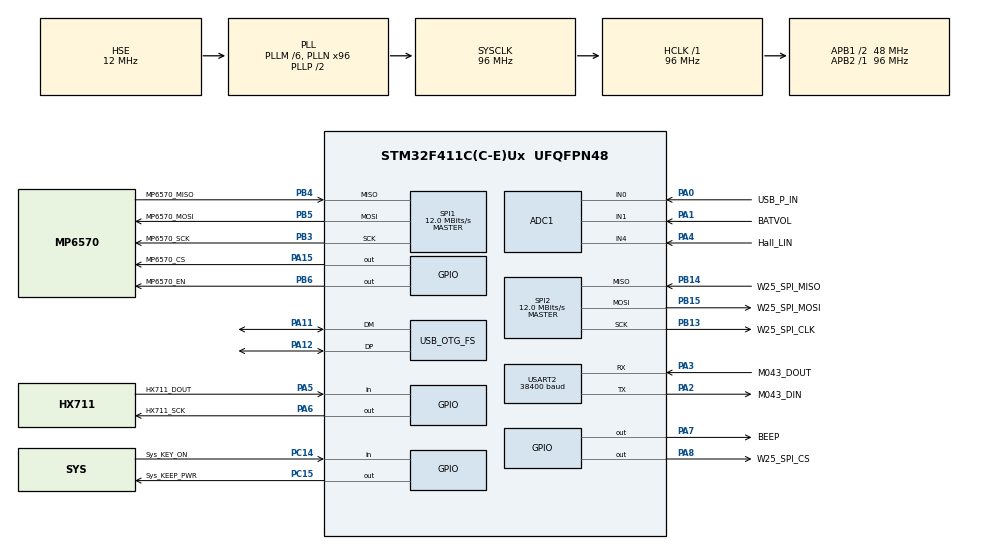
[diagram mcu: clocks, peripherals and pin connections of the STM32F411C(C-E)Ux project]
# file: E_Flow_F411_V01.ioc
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ADC1.Channel-0\#ChannelRegularConversion=ADC_CHANNEL_0
ADC1.Channel-1\#ChannelRegularConversion=ADC_CHANNEL_1
ADC1.Channel-2\#ChannelRegularConversion=ADC_CHANNEL_4
ADC1.ClockPrescaler=ADC_CLOCK_SYNC_PCLK_DIV4
ADC1.ContinuousConvMode=ENABLE
ADC1.NbrOfConversion=3
ADC1.NbrOfConversionFlag=1
ADC1.Rank-0\#ChannelRegularConversion=1
ADC1.Rank-1\#ChannelRegularConversion=2
ADC1.Rank-2\#ChannelRegularConversion=3
ADC1.SamplingTime-0\#ChannelRegularConversion=ADC_SAMPLETIME_480CYCLES
ADC1.SamplingTime-1\#ChannelRegularConversion=ADC_SAMPLETIME_480CYCLES
ADC1.SamplingTime-2\#ChannelRegularConversion=ADC_SAMPLETIME_480CYCLES
ADC1.ScanConvMode=ENABLE
ADC1.master=1
Dma.ADC1.0.Direction=DMA_PERIPH_TO_MEMORY
Dma.ADC1.0.FIFOMode=DMA_FIFOMODE_DISABLE
Dma.ADC1.0.Instance=DMA2_Stream0
Dma.ADC1.0.MemDataAlignment=DMA_MDATAALIGN_HALFWORD
Dma.ADC1.0.MemInc=DMA_MINC_ENABLE
Dma.ADC1.0.Mode=DMA_CIRCULAR
Dma.ADC1.0.PeriphDataAlignment=DMA_PDATAALIGN_HALFWORD
Dma.ADC1.0.PeriphInc=DMA_PINC_DISABLE
Dma.ADC1.0.Priority=DMA_PRIORITY_LOW
Dma.Request0=ADC1
Dma.Request1=USART2_TX
Dma.Request2=USART2_RX
Dma.USART2_RX.2.Direction=DMA_PERIPH_TO_MEMORY
Dma.USART2_RX.2.FIFOMode=DMA_FIFOMODE_DISABLE
Dma.USART2_RX.2.Instance=DMA1_Stream5
Dma.USART2_RX.2.MemDataAlignment=DMA_MDATAALIGN_BYTE
Dma.USART2_RX.2.MemInc=DMA_MINC_ENABLE
Dma.USART2_RX.2.Mode=DMA_NORMAL
Dma.USART2_RX.2.PeriphDataAlignment=DMA_PDATAALIGN_BYTE
Dma.USART2_RX.2.PeriphInc=DMA_PINC_DISABLE
Dma.USART2_RX.2.Priority=DMA_PRIORITY_MEDIUM
Dma.USART2_TX.1.Direction=DMA_MEMORY_TO_PERIPH
Dma.USART2_TX.1.FIFOMode=DMA_FIFOMODE_DISABLE
Dma.USART2_TX.1.Instance=DMA1_Stream6
Dma.USART2_TX.1.MemDataAlignment=DMA_MDATAALIGN_BYTE
Dma.USART2_TX.1.MemInc=DMA_MINC_ENABLE
Dma.USART2_TX.1.Mode=DMA_NORMAL
Dma.USART2_TX.1.PeriphDataAlignment=DMA_PDATAALIGN_BYTE
Dma.USART2_TX.1.PeriphInc=DMA_PINC_DISABLE
Dma.USART2_TX.1.Priority=DMA_PRIORITY_LOW
FREERTOS.MEMORY_ALLOCATION=0
FREERTOS.Tasks01=defaultTask,0,128,StartDefaultTask,Default,NULL,Dynamic,NULL,NULL
Mcu.Family=STM32F4
Mcu.Name=STM32F411C(C-E)Ux
Mcu.Package=UFQFPN48
NVIC.DMA1_Stream5_IRQn=true\:5\:0\:false\:false\:true\:true\:false\:true\:true
NVIC.DMA1_Stream6_IRQn=true\:5\:0\:false\:false\:true\:true\:false\:true\:true
NVIC.DMA2_Stream0_IRQn=true\:5\:0\:false\:false\:true\:true\:false\:true\:true
NVIC.OTG_FS_IRQn=true\:5\:0\:false\:false\:true\:true\:true\:true\:true
NVIC.PriorityGroup=NVIC_PRIORITYGROUP_4
NVIC.TIM1_UP_TIM10_IRQn=true\:0\:0\:true\:false\:true\:false\:false\:true\:true
NVIC.TIM2_IRQn=true\:5\:0\:false\:false\:true\:true\:true\:true\:true
NVIC.TimeBase=TIM1_UP_TIM10_IRQn
NVIC.TimeBaseIP=TIM1
NVIC.USART2_IRQn=true\:5\:0\:false\:false\:true\:true\:true\:true\:true
PA0-WKUP.GPIO_Label=USB_P_IN
PA0-WKUP.Signal=ADCx_IN0
PA1.GPIO_Label=BATVOL
PA1.Signal=ADCx_IN1
PA11.Mode=Device_Only
PA11.Signal=USB_OTG_FS_DM
PA12.Mode=Device_Only
PA12.Signal=USB_OTG_FS_DP
PA13.Mode=Serial_Wire
PA13.Signal=SYS_JTMS-SWDIO
PA14.Mode=Serial_Wire
PA14.Signal=SYS_JTCK-SWCLK
PA15.GPIO_Label=MP6570_CS
PA15.Signal=GPIO_Output
PA2.GPIO_Label=M043_DIN
PA2.Mode=Asynchronous
PA2.Signal=USART2_TX
PA3.GPIO_Label=M043_DOUT
PA3.Mode=Asynchronous
PA3.Signal=USART2_RX
PA4.GPIO_Label=Hall_LIN
PA4.Signal=ADCx_IN4
PA5.GPIO_Label=HX711_DOUT
PA5.Signal=GPIO_Input
PA6.GPIO_Label=HX711_SCK
PA6.Signal=GPIO_Output
PA7.GPIO_Label=BEEP
PA7.Signal=GPIO_Output
PA8.GPIO_Label=W25_SPI_CS
PA8.Signal=GPIO_Output
PB13.GPIO_Label=W25_SPI_CLK
PB13.Mode=Full_Duplex_Master
PB13.Signal=SPI2_SCK
PB14.GPIO_Label=W25_SPI_MISO
PB14.Mode=Full_Duplex_Master
PB14.Signal=SPI2_MISO
PB15.GPIO_Label=W25_SPI_MOSI
PB15.Mode=Full_Duplex_Master
PB15.Signal=SPI2_MOSI
PB3.GPIO_Label=MP6570_SCK
PB3.Mode=Full_Duplex_Master
PB3.Signal=SPI1_SCK
PB4.GPIO_Label=MP6570_MISO
PB4.Mode=Full_Duplex_Master
PB4.Signal=SPI1_MISO
PB5.GPIO_Label=MP6570_MOSI
PB5.Mode=Full_Duplex_Master
PB5.Signal=SPI1_MOSI
PB6.GPIO_Label=MP6570_EN
PB6.PinState=GPIO_PIN_SET
PB6.Signal=GPIO_Output
PC14-OSC32_IN.GPIO_Label=Sys_KEY_ON
PC14-OSC32_IN.Signal=GPIO_Input
PC15-OSC32_OUT.GPIO_Label=Sys_KEEP_PWR
PC15-OSC32_OUT.PinState=GPIO_PIN_SET
PC15-OSC32_OUT.Signal=GPIO_Output
PH0\ -\ OSC_IN.Mode=HSE-External-Oscillator
PH0\ -\ OSC_IN.Signal=RCC_OSC_IN
PH1\ -\ OSC_OUT.Mode=HSE-External-Oscillator
PH1\ -\ OSC_OUT.Signal=RCC_OSC_OUT
ProjectManager.HeapSize=0x4000
ProjectManager.StackSize=0x4000
ProjectManager.TargetToolchain=MDK-ARM V5.27
RCC.48MHZClocksFreq_Value=48000000
RCC.AHBFreq_Value=96000000
RCC.APB1CLKDivider=RCC_HCLK_DIV2
RCC.APB1Freq_Value=48000000
RCC.APB1TimFreq_Value=96000000
RCC.APB2Freq_Value=96000000
RCC.APB2TimFreq_Value=96000000
RCC.CortexFreq_Value=96000000
RCC.HCLKFreq_Value=96000000
RCC.HSE_VALUE=12000000
RCC.HSI_VALUE=16000000
RCC.LSE_VALUE=32768
RCC.PLLM=6
RCC.PLLN=96
RCC.SYSCLKFreq_VALUE=96000000
RCC.SYSCLKSource=RCC_SYSCLKSOURCE_PLLCLK
RCC.VCOOutputFreq_Value=192000000
SH.ADCx_IN0.0=ADC1_IN0,IN0
SH.ADCx_IN1.0=ADC1_IN1,IN1
SH.ADCx_IN4.0=ADC1_IN4,IN4
SPI1.BaudRatePrescaler=SPI_BAUDRATEPRESCALER_8
SPI1.CLKPhase=SPI_PHASE_2EDGE
SPI1.CLKPolarity=SPI_POLARITY_HIGH
SPI1.CalculateBaudRate=12.0 MBits/s
SPI1.Direction=SPI_DIRECTION_2LINES
SPI1.Mode=SPI_MODE_MASTER
SPI1.VirtualType=VM_MASTER
SPI2.BaudRatePrescaler=SPI_BAUDRATEPRESCALER_4
SPI2.CLKPhase=SPI_PHASE_2EDGE
SPI2.CLKPolarity=SPI_POLARITY_HIGH
SPI2.CalculateBaudRate=12.0 MBits/s
SPI2.Direction=SPI_DIRECTION_2LINES
SPI2.Mode=SPI_MODE_MASTER
SPI2.VirtualType=VM_MASTER
TIM2.Period=100
TIM2.Prescaler=95
USART2.BaudRate=38400
USART2.VirtualMode=VM_ASYNC
USB_DEVICE.CLASS_NAME_FS=CDC
USB_DEVICE.VirtualMode=Cdc
USB_DEVICE.VirtualModeFS=Cdc_FS
USB_OTG_FS.VirtualMode=Device_Only
VP_FREERTOS_VS_CMSIS_V1.Mode=CMSIS_V1
VP_SYS_VS_tim1.Mode=TIM1
VP_TIM2_VS_ClockSourceINT.Mode=Internal
VP_USB_DEVICE_VS_USB_DEVICE_CDC_FS.Mode=CDC_FS
board=custom

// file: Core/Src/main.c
/* USER CODE BEGIN Header */
/**
  ******************************************************************************
  * @file           : main.c
  * @brief          : Main program body
  ******************************************************************************
  * @attention
  *
  * Copyright (c) 2022 STMicroelectronics.
  * All rights reserved.
  *
  * This software is licensed under terms that can be found in the LICENSE file
  * in the root directory of this software component.
  * If no LICENSE file comes with this software, it is provided AS-IS.
  *
  ******************************************************************************
  */
/* USER CODE END Header */
#include "main.h"
#include "cmsis_os.h"
#include "adc.h"
#include "dma.h"
#include "spi.h"
#include "tim.h"
#include "usart.h"
#include "usb_device.h"
#include "gpio.h"

/* USER CODE BEGIN Includes */
#include "app_main.h"
/* USER CODE END Includes */

void SystemClock_Config(void);
void MX_FREERTOS_Init(void);

int main(void)
{
  /* USER CODE BEGIN 1 */
	Before_HAL_Init();	//	����ʱ���Σ�����ʱ��
  /* USER CODE END 1 */

  /* MCU Configuration--------------------------------------------------------*/

  /* Reset of all peripherals, Initializes the Flash interface and the Systick. */
  HAL_Init();

  /* Configure the system clock */
  SystemClock_Config();

  /* Initialize all configured peripherals */
  MX_GPIO_Init();
  MX_DMA_Init();
  MX_ADC1_Init();
  MX_SPI1_Init();
  MX_SPI2_Init();
  MX_TIM2_Init();
  MX_USART2_UART_Init();
  /* USER CODE BEGIN 2 */
	app_init();
  /* USER CODE END 2 */

  /* Call init function for freertos objects (in freertos.c) */
  MX_FREERTOS_Init();

  /* Start scheduler */
  osKernelStart();

  /* We should never get here as control is now taken by the scheduler */
  /* Infinite loop */
  while (1)
  {

  }
}

void SystemClock_Config(void)
{
  RCC_OscInitTypeDef RCC_OscInitStruct = {0};
  RCC_ClkInitTypeDef RCC_ClkInitStruct = {0};

  /** Configure the main internal regulator output voltage
  */
  __HAL_RCC_PWR_CLK_ENABLE();
  __HAL_PWR_VOLTAGESCALING_CONFIG(PWR_REGULATOR_VOLTAGE_SCALE1);

  /** Initializes the RCC Oscillators according to the specified parameters
  * in the RCC_OscInitTypeDef structure.
  */
  RCC_OscInitStruct.OscillatorType = RCC_OSCILLATORTYPE_HSE;
  RCC_OscInitStruct.HSEState = RCC_HSE_ON;
  RCC_OscInitStruct.PLL.PLLState = RCC_PLL_ON;
  RCC_OscInitStruct.PLL.PLLSource = RCC_PLLSOURCE_HSE;
  RCC_OscInitStruct.PLL.PLLM = 6;
  RCC_OscInitStruct.PLL.PLLN = 96;
  RCC_OscInitStruct.PLL.PLLP = RCC_PLLP_DIV2;
  RCC_OscInitStruct.PLL.PLLQ = 4;
  if (HAL_RCC_OscConfig(&RCC_OscInitStruct) != HAL_OK)
  {
    Error_Handler();
  }

  /** Initializes the CPU, AHB and APB buses clocks
  */
  RCC_ClkInitStruct.ClockType = RCC_CLOCKTYPE_HCLK|RCC_CLOCKTYPE_SYSCLK
                              |RCC_CLOCKTYPE_PCLK1|RCC_CLOCKTYPE_PCLK2;
  RCC_ClkInitStruct.SYSCLKSource = RCC_SYSCLKSOURCE_PLLCLK;
  RCC_ClkInitStruct.AHBCLKDivider = RCC_SYSCLK_DIV1;
  RCC_ClkInitStruct.APB1CLKDivider = RCC_HCLK_DIV2;
  RCC_ClkInitStruct.APB2CLKDivider = RCC_HCLK_DIV1;

  if (HAL_RCC_ClockConfig(&RCC_ClkInitStruct, FLASH_LATENCY_3) != HAL_OK)
  {
    Error_Handler();
  }
}

void HAL_TIM_PeriodElapsedCallback(TIM_HandleTypeDef *htim)
{
  if (htim->Instance == TIM1) {
    HAL_IncTick();
  }
}

void Error_Handler(void)
{
  __disable_irq();
  while (1)
  {
  }
}

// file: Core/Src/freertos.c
/* USER CODE BEGIN Header */
/**
  ******************************************************************************
  * File Name          : freertos.c
  * Description        : Code for freertos applications
  ******************************************************************************
  * @attention
  *
  * Copyright (c) 2022 STMicroelectronics.
  * All rights reserved.
  *
  * This software is licensed under terms that can be found in the LICENSE file
  * in the root directory of this software component.
  * If no LICENSE file comes with this software, it is provided AS-IS.
  *
  ******************************************************************************
  */
/* USER CODE END Header */

#include "FreeRTOS.h"
#include "task.h"
#include "main.h"
#include "cmsis_os.h"

/* USER CODE BEGIN Includes */
#include "app_main.h"
/* USER CODE END Includes */

/* USER CODE BEGIN Variables */
osThreadId GetLcdTaskHandle;
osThreadId ModeHandle;
osThreadId SettingHandle;
osThreadId FactoryCalibHandle;
osThreadId FactoryAgingHandle;
osThreadId MotorHandle;
/* USER CODE END Variables */
osThreadId defaultTaskHandle;

/* USER CODE BEGIN FunctionPrototypes */
void StartGetLcdTask(void const * argument);
void StartMotorTask(void const * argument);
void StartSettingTask(void const * argument);
void StartFactoryCalibTask(void const * argument);
void StartFactoryAgingTask(void const * argument);
void StartModeTask(void const * argument);
/* USER CODE END FunctionPrototypes */

void StartDefaultTask(void const * argument);

extern void MX_USB_DEVICE_Init(void);
void MX_FREERTOS_Init(void); /* (MISRA C 2004 rule 8.1) */

void MX_FREERTOS_Init(void) {

  /* Create the thread(s) */
  /* definition and creation of defaultTask */
  osThreadDef(defaultTask, StartDefaultTask, osPriorityNormal, 0, 128);
  defaultTaskHandle = osThreadCreate(osThread(defaultTask), NULL);

  /* USER CODE BEGIN RTOS_THREADS */
  /* add threads, ... */
	osThreadDef(GetLcd, StartGetLcdTask, osPriorityHigh, 0, 512);
	GetLcdTaskHandle = osThreadCreate(osThread(GetLcd), NULL);					/*	1. 获取HMI指令	*/

	osThreadDef(Mode, StartModeTask, osPriorityAboveNormal, 0, 1024);
	ModeHandle  = osThreadCreate(osThread(Mode), NULL);							/*	2. 麻醉界面	*/

	osThreadDef(Settings, StartSettingTask, osPriorityNormal, 0, 256);
	SettingHandle  = osThreadCreate(osThread(Settings), NULL);					/*	3. 设置界面	*/

	osThreadDef(FactoryCalib, StartFactoryCalibTask, osPriorityNormal, 0, 256);
	FactoryCalibHandle  = osThreadCreate(osThread(FactoryCalib), NULL);			/*	4. 校正界面	*/

	osThreadDef(FactoryAging, StartFactoryAgingTask, osPriorityNormal, 0, 384);
	FactoryAgingHandle  = osThreadCreate(osThread(FactoryAging), NULL);			/*	5. 老化界面	*/

	osThreadDef(MotorController, StartMotorTask, osPriorityAboveNormal, 0, 256);
	MotorHandle = osThreadCreate(osThread(MotorController), NULL);				/*	6. 电机控制	*/
  /* USER CODE END RTOS_THREADS */

}

void StartDefaultTask(void const * argument)
{
  /* init code for USB_DEVICE */
//  MX_USB_DEVICE_Init();
  /* USER CODE BEGIN StartDefaultTask */
  /* Infinite loop */
	static uint8_t cnt = 0;
	for(;;){
		cnt ++;
//		if(cnt > 100){
//			vTaskList((char*)&InfoBuffer);
//			myPrintf("TaskName		TaskState	Priority	LeftStack	TaskNo.\r\n");
//			myPrintf("\r\n%s\r\n",InfoBuffer);
//			vTaskGetRunTimeStats((char*)&InfoBuffer2);
//			myPrintf("TaskName		RunTime		CPU_\r\n");
//			myPrintf("\r\n%s\r\n",InfoBuffer2);
//			cnt = 0;
//		}
		check_alarm_event();
		power_on_off_detect();				/*	开关机及充电检测	*/
		osDelay(150);
	}
  /* USER CODE END StartDefaultTask */
}

/* USER CODE BEGIN Application */
/*	Task:  获取屏幕指令		*/
void StartGetLcdTask(void const * argument)
{
	for(;;){
		Analysis_LcdCmd();					/*	分析接收指令	*/
		check_sendBuf_and_sendBuf();
		osDelay(50);
	}
}

/*	麻醉	*/
void StartModeTask(void const * argument)
{
	for(;;){
		page_mode();
		osDelay(100);
	}
}

/*	设置	*/
void StartSettingTask(void const * argument)
{
	for(;;){
		page_setting();
		osDelay(100);
	}
}

/*	校正	*/
void StartFactoryCalibTask(void const * argument)
{
	for(;;){
		page_calibration();
		osDelay(100);
	}
}
/*	老化	*/
void StartFactoryAgingTask(void const * argument)
{
	for(;;){
		page_aging();
		osDelay(100);
	}
}

/*	电机控制		*/
void StartMotorTask(void const * argument)
{
	for(;;){
		motor_controller();
		osDelay(100);
	}
}
/* USER CODE END Application */
